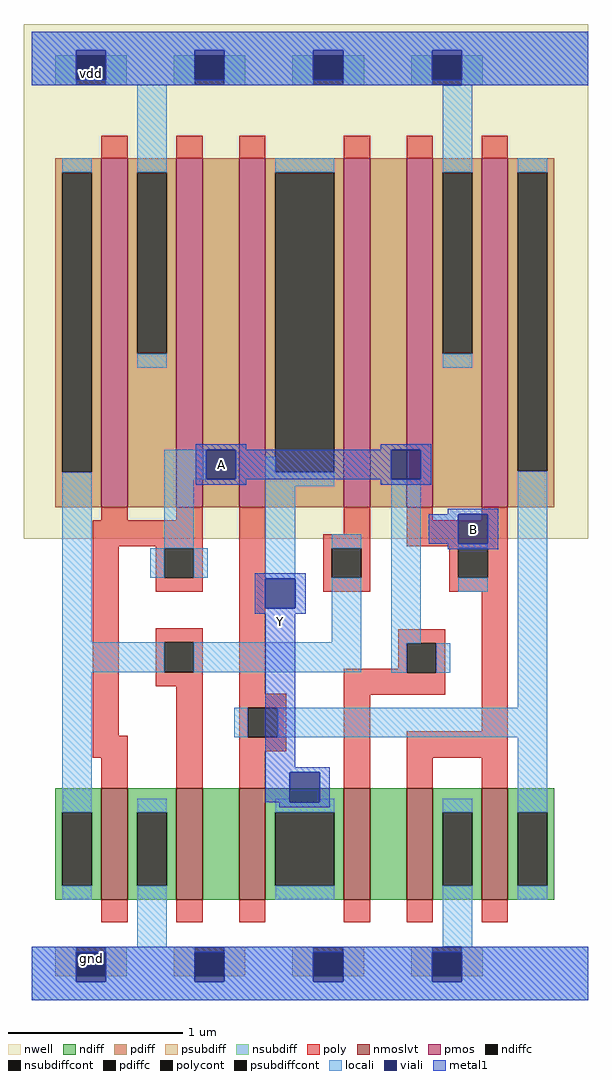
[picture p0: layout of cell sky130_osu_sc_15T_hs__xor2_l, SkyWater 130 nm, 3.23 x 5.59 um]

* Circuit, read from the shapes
.subckt sky130_osu_sc_15T_hs__xor2_l A Y B
XM1 gnd A n1 gnd sky130_fd_pr__nfet_01v8_lvt w=0.64 l=0.15
XM2 n2 n1 gnd gnd sky130_fd_pr__nfet_01v8_lvt w=0.64 l=0.15
XM3 Y n3 n2 gnd sky130_fd_pr__nfet_01v8_lvt w=0.64 l=0.15
XM4 n4 A Y gnd sky130_fd_pr__nfet_01v8_lvt w=0.64 l=0.15
XM5 gnd B n4 gnd sky130_fd_pr__nfet_01v8_lvt w=0.64 l=0.15
XM6 n3 B gnd gnd sky130_fd_pr__nfet_01v8_lvt w=0.64 l=0.15
XM7 vdd A n1 vdd sky130_fd_pr__pfet_01v8 w=2 l=0.15
XM8 n5 A vdd vdd sky130_fd_pr__pfet_01v8 w=2 l=0.15
XM9 Y n3 n5 vdd sky130_fd_pr__pfet_01v8 w=2 l=0.15
XM10 n6 n1 Y vdd sky130_fd_pr__pfet_01v8 w=2 l=0.15
XM11 vdd B n6 vdd sky130_fd_pr__pfet_01v8 w=2 l=0.15
XM12 n3 B vdd vdd sky130_fd_pr__pfet_01v8 w=2 l=0.15
.ends

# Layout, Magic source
magic
tech sky130A
magscale 1 2
<< nwell >>
rect -9 529 638 1119
<< nmoslvt >>
rect 80 115 110 243
rect 166 115 196 243
rect 238 115 268 243
rect 358 115 388 243
rect 430 115 460 243
rect 516 115 546 243
<< pmos >>
rect 80 565 110 965
rect 166 565 196 965
rect 238 565 268 965
rect 358 565 388 965
rect 430 565 460 965
rect 516 565 546 965
<< ndiff >>
rect 27 215 80 243
rect 27 131 35 215
rect 69 131 80 215
rect 27 115 80 131
rect 110 215 166 243
rect 110 131 121 215
rect 155 131 166 215
rect 110 115 166 131
rect 196 115 238 243
rect 268 215 358 243
rect 268 131 279 215
rect 347 131 358 215
rect 268 115 358 131
rect 388 115 430 243
rect 460 215 516 243
rect 460 131 471 215
rect 505 131 516 215
rect 460 115 516 131
rect 546 215 599 243
rect 546 131 557 215
rect 591 131 599 215
rect 546 115 599 131
<< pdiff >>
rect 27 949 80 965
rect 27 605 35 949
rect 69 605 80 949
rect 27 565 80 605
rect 110 949 166 965
rect 110 741 121 949
rect 155 741 166 949
rect 110 565 166 741
rect 196 565 238 965
rect 268 949 358 965
rect 268 605 279 949
rect 347 605 358 949
rect 268 565 358 605
rect 388 565 430 965
rect 460 949 516 965
rect 460 741 471 949
rect 505 741 516 949
rect 460 565 516 741
rect 546 949 599 965
rect 546 606 557 949
rect 591 606 599 949
rect 546 565 599 606
<< ndiffc >>
rect 35 131 69 215
rect 121 131 155 215
rect 279 131 347 215
rect 471 131 505 215
rect 557 131 591 215
<< pdiffc >>
rect 35 605 69 949
rect 121 741 155 949
rect 279 605 347 949
rect 471 741 505 949
rect 557 606 591 949
<< psubdiff >>
rect 27 27 51 61
rect 85 27 109 61
rect 163 27 187 61
rect 221 27 245 61
rect 299 27 323 61
rect 357 27 381 61
rect 435 27 459 61
rect 493 27 517 61
<< nsubdiff >>
rect 27 1049 51 1083
rect 85 1049 109 1083
rect 163 1049 187 1083
rect 221 1049 245 1083
rect 299 1049 323 1083
rect 357 1049 381 1083
rect 435 1049 459 1083
rect 493 1049 517 1083
<< psubdiffcont >>
rect 51 27 85 61
rect 187 27 221 61
rect 323 27 357 61
rect 459 27 493 61
<< nsubdiffcont >>
rect 51 1049 85 1083
rect 187 1049 221 1083
rect 323 1049 357 1083
rect 459 1049 493 1083
<< poly >>
rect 80 965 110 991
rect 166 965 196 991
rect 238 965 268 991
rect 358 965 388 991
rect 430 965 460 991
rect 516 965 546 991
rect 80 550 110 565
rect 166 550 196 565
rect 70 520 196 550
rect 70 303 100 520
rect 142 518 196 520
rect 142 484 152 518
rect 186 484 196 518
rect 142 468 196 484
rect 142 410 196 426
rect 142 376 152 410
rect 186 376 196 410
rect 142 360 196 376
rect 70 278 110 303
rect 80 243 110 278
rect 166 243 196 360
rect 238 351 268 565
rect 358 534 388 565
rect 334 518 388 534
rect 430 550 460 565
rect 516 550 546 565
rect 430 520 546 550
rect 334 484 344 518
rect 378 484 388 518
rect 334 468 388 484
rect 479 518 546 520
rect 479 484 489 518
rect 523 484 546 518
rect 479 468 546 484
rect 420 409 474 425
rect 420 380 430 409
rect 358 375 430 380
rect 464 375 474 409
rect 238 335 292 351
rect 238 301 248 335
rect 282 301 292 335
rect 238 285 292 301
rect 358 350 474 375
rect 238 243 268 285
rect 358 243 388 350
rect 516 308 546 468
rect 430 278 546 308
rect 430 243 460 278
rect 516 243 546 278
rect 80 89 110 115
rect 166 89 196 115
rect 238 89 268 115
rect 358 89 388 115
rect 430 89 460 115
rect 516 89 546 115
<< polycont >>
rect 152 484 186 518
rect 152 376 186 410
rect 344 484 378 518
rect 489 484 523 518
rect 430 375 464 409
rect 248 301 282 335
<< locali >>
rect 0 1089 638 1110
rect 0 1049 51 1089
rect 85 1049 187 1089
rect 221 1049 323 1089
rect 357 1049 459 1089
rect 493 1049 638 1089
rect 35 949 69 965
rect 121 949 155 1049
rect 121 725 155 741
rect 279 949 347 965
rect 35 410 69 605
rect 152 597 200 631
rect 268 605 279 623
rect 471 949 505 1049
rect 471 725 505 741
rect 557 949 591 965
rect 152 518 186 597
rect 268 589 347 605
rect 136 484 152 518
rect 186 484 202 518
rect 268 483 302 589
rect 344 518 378 534
rect 344 410 378 484
rect 35 376 152 410
rect 186 376 378 410
rect 412 409 446 597
rect 489 518 523 523
rect 489 468 523 484
rect 35 215 69 376
rect 412 375 430 409
rect 464 375 480 409
rect 557 335 591 606
rect 232 301 248 335
rect 282 301 591 335
rect 35 115 69 131
rect 121 215 155 231
rect 121 61 155 131
rect 279 227 296 231
rect 330 227 347 231
rect 279 215 347 227
rect 279 115 347 131
rect 471 215 505 231
rect 471 61 505 131
rect 557 215 591 301
rect 557 115 591 131
rect 0 21 51 61
rect 85 21 187 61
rect 221 21 323 61
rect 357 21 459 61
rect 493 21 638 61
rect 0 0 638 21
<< viali >>
rect 51 1083 85 1089
rect 51 1055 85 1083
rect 187 1083 221 1089
rect 187 1055 221 1083
rect 323 1083 357 1089
rect 323 1055 357 1083
rect 459 1083 493 1089
rect 459 1055 493 1083
rect 200 597 234 631
rect 412 597 446 631
rect 268 449 302 483
rect 489 523 523 557
rect 296 227 330 261
rect 51 27 85 55
rect 51 21 85 27
rect 187 27 221 55
rect 187 21 221 27
rect 323 27 357 55
rect 323 21 357 27
rect 459 27 493 55
rect 459 21 493 27
<< metal1 >>
rect 0 1089 638 1110
rect 0 1055 51 1089
rect 85 1055 187 1089
rect 221 1055 323 1089
rect 357 1055 459 1089
rect 493 1055 638 1089
rect 0 1049 638 1055
rect 188 631 246 637
rect 400 631 458 637
rect 188 597 200 631
rect 234 597 412 631
rect 446 597 458 631
rect 188 591 246 597
rect 400 591 458 597
rect 477 557 535 563
rect 455 523 489 557
rect 523 523 535 557
rect 477 517 535 523
rect 256 483 314 489
rect 256 449 268 483
rect 302 449 314 483
rect 256 443 314 449
rect 268 267 302 443
rect 268 261 342 267
rect 268 227 296 261
rect 330 227 342 261
rect 284 221 342 227
rect 0 55 638 61
rect 0 21 51 55
rect 85 21 187 55
rect 221 21 323 55
rect 357 21 459 55
rect 493 21 638 55
rect 0 0 638 21
<< labels >>
rlabel viali 218 614 218 614 1 A
port 1 n
rlabel metal1 285 434 285 434 1 Y
port 2 n
rlabel viali 506 540 506 540 1 B
port 3 n
rlabel viali 68 48 68 48 1 gnd
rlabel viali 68 1062 68 1062 1 vdd
<< end >>
